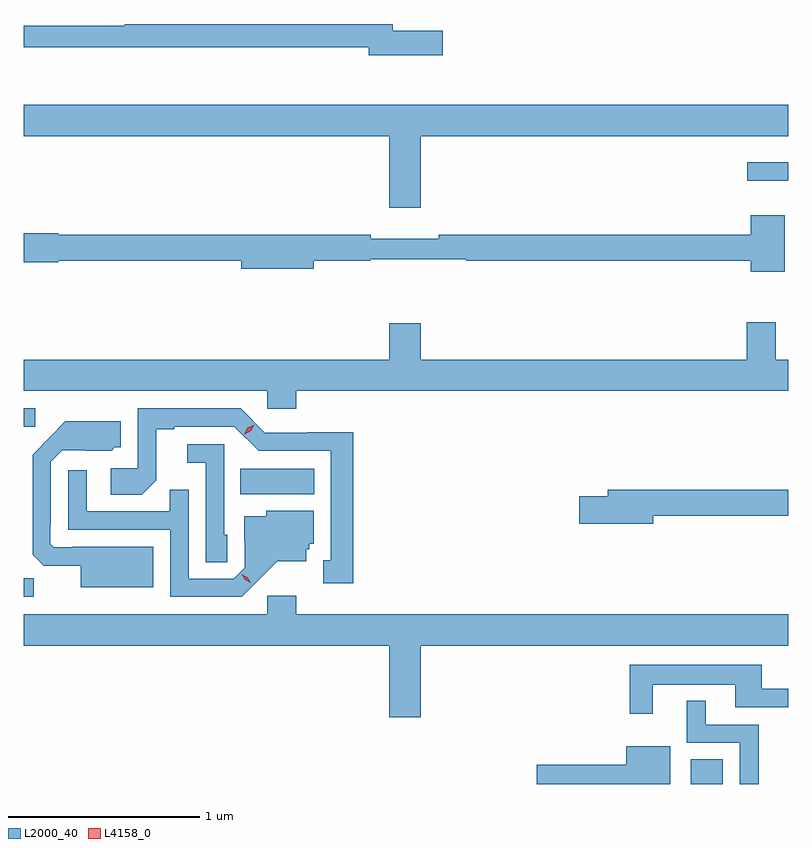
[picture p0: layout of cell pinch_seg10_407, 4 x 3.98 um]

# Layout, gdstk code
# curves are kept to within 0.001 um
import gdstk
lib = gdstk.Library(unit=1e-6, precision=1e-09)
def R(c, l, rs):  # rectangles x0, y0, x1, y1
    for r in rs: c.add(gdstk.rectangle(r[:2], r[2:], *l))
def P(c, l, *ps):  # polygons
    for p in ps: c.add(gdstk.Polygon(p, *l))
L2000_40 = (2000, 40)
L4158_0 = (4158, 0)

pinch_seg10_407 = lib.new_cell('pinch_seg10_407')
R(pinch_seg10_407, L2000_40, [(370.382,1312.912,370.549,1313.042), (366.892,1313.892,366.945,1313.987), (368.026,1314.428,368.413,1314.562), (366.892,1314.78,366.952,1314.876), (370.677,1316.067,370.892,1316.164)])
P(pinch_seg10_407, L2000_40, [(369.085,1316.853),(368.824,1316.853),(368.824,1316.887),(367.42,1316.887),(367.42,1316.879),(366.892,1316.879),(366.892,1316.766),(368.696,1316.766),(368.696,1316.723),(369.085,1316.723)],
  [(368.968,1316.3),(370.892,1316.3),(370.892,1316.464),(366.892,1316.464),(366.892,1316.3),(368.804,1316.3),(368.804,1315.926),(368.968,1315.926)],
  [(370.873,1315.888),(370.694,1315.888),(370.694,1315.784),(369.064,1315.784),(369.064,1315.765),(368.708,1315.765),(368.708,1315.784),(367.074,1315.784),(367.074,1315.792),(366.892,1315.792),(366.892,1315.64),(367.074,1315.64),(367.074,1315.648),(368.03,1315.648),(368.03,1315.606),(368.41,1315.606),(368.41,1315.648),(368.706,1315.648),(368.706,1315.656),(369.206,1315.656),(369.206,1315.648),(370.694,1315.648),(370.694,1315.592),(370.873,1315.592)],
  [(368.318,1314.968),(370.892,1314.968),(370.892,1315.132),(370.825,1315.132),(370.825,1315.327),(370.673,1315.327),(370.673,1315.132),(368.968,1315.132),(368.968,1315.321),(368.804,1315.321),(368.804,1315.132),(366.892,1315.132),(366.892,1314.968),(368.166,1314.968),(368.166,1314.875),(368.318,1314.875)],
  [(368.617,1314.752),(368.376,1314.752),(368.376,1314.75),(368.154,1314.75),(368.028,1314.876),(367.488,1314.876),(367.488,1314.564),(367.347,1314.564),(367.347,1314.424),(367.511,1314.424),(367.587,1314.5),(367.587,1314.768),(367.681,1314.768),(367.681,1314.78),(367.995,1314.78),(368.121,1314.654),(368.498,1314.654),(368.498,1314.081),(368.459,1314.081),(368.459,1313.961),(368.617,1313.961)],
  [(367.57,1314.154),(367.15,1314.154),(367.15,1314.15),(367.05,1314.15),(367.032,1314.168),(367.032,1314.268),(367.035,1314.268),(367.035,1314.597),(367.095,1314.657),(367.352,1314.656),(367.368,1314.672),(367.399,1314.672),(367.399,1314.808),(367.111,1314.808),(366.939,1314.634),(366.939,1314.112),(366.998,1314.053),(367.19,1314.053),(367.19,1313.942),(367.57,1313.942)],
  [(367.956,1314.216),(367.941,1314.216),(367.941,1314.69),(367.749,1314.69),(367.749,1314.593),(367.845,1314.593),(367.845,1314.073),(367.956,1314.073)],
  [(368.116,1313.975),(368.219,1314.077),(368.371,1314.077),(368.371,1314.141),(368.385,1314.141),(368.385,1314.168),(368.41,1314.168),(368.41,1314.34),(368.16,1314.34),(368.16,1314.313),(368.045,1314.313),(368.045,1314.184),(368.049,1314.184),(368.049,1314.042),(367.992,1313.985),(367.755,1313.985),(367.755,1314.452),(367.657,1314.452),(367.657,1314.339),(367.221,1314.339),(367.221,1314.553),(367.125,1314.553),(367.125,1314.243),(367.659,1314.243),(367.659,1313.892),(368.032,1313.892)],
  [(370.186,1314.316),(370.892,1314.316),(370.892,1314.452),(369.947,1314.452),(369.947,1314.416),(369.798,1314.416),(369.798,1314.274),(370.186,1314.274)],
  [(368.968,1313.636),(370.892,1313.636),(370.892,1313.8),(368.318,1313.8),(368.318,1313.896),(368.166,1313.896),(368.166,1313.8),(366.892,1313.8),(366.892,1313.636),(368.804,1313.636),(368.804,1313.262),(368.968,1313.262)],
  [(370.183,1313.432),(370.613,1313.432),(370.613,1313.313),(370.892,1313.313),(370.892,1313.409),(370.753,1313.409),(370.753,1313.536),(370.062,1313.536),(370.062,1313.28),(370.183,1313.28)],
  [(370.736,1313.223),(370.459,1313.223),(370.459,1313.347),(370.361,1313.347),(370.361,1313.127),(370.638,1313.127),(370.638,1312.912),(370.736,1312.912)],
  [(370.273,1313.11),(370.043,1313.11),(370.043,1313.012),(369.576,1313.012),(369.576,1312.912),(370.273,1312.912)])
P(pinch_seg10_407, L4158_0, [(368.047,1314.741),(368.047,1314.741),(368.065,1314.774),(368.097,1314.792),(368.097,1314.792),(368.097,1314.792),(368.079,1314.76),(368.048,1314.741)],
  [(368.08,1313.964),(368.05,1313.979),(368.032,1314.009),(368.032,1314.009),(368.033,1314.009),(368.063,1313.994),(368.08,1313.964),(368.08,1313.964)])

lib.write_gds('pinch_seg10_407.gds')
